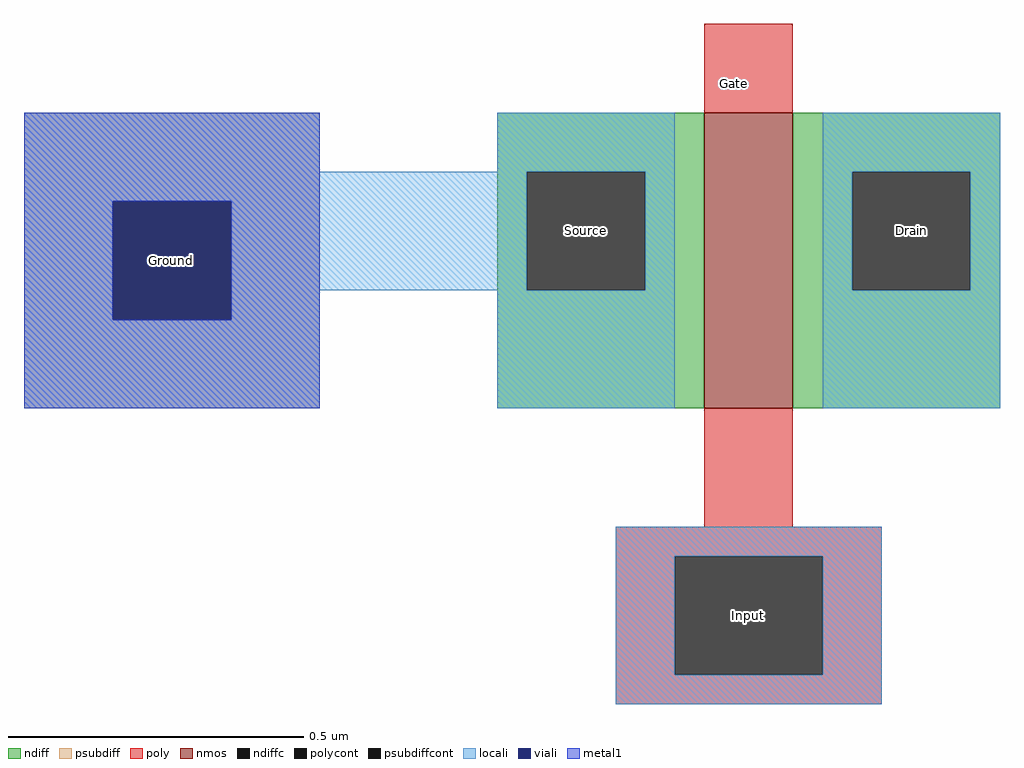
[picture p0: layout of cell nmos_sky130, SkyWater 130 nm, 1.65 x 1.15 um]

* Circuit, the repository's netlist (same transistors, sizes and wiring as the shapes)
* SPICE3 file created from nmos_sky130.ext - technology: sky130A

X0 Drain Input Ground Ground sky130_fd_pr__nfet_01v8 ad=0.175 pd=1.7 as=0.175 ps=1.7 w=0.5 l=0.15

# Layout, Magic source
magic
tech sky130A
<< nmos >>
rect -10 -25 5 25
<< ndiff >>
rect -45 15 -10 25
rect -45 -5 -40 15
rect -20 -5 -10 15
rect -45 -25 -10 -5
rect 5 15 40 25
rect 5 -5 15 15
rect 35 -5 40 15
rect 5 -25 40 -5
<< ndiffc >>
rect -40 -5 -20 15
rect 15 -5 35 15
<< psubdiff >>
rect -125 10 -75 25
rect -125 -10 -110 10
rect -90 -10 -75 10
rect -125 -25 -75 -10
<< psubdiffcont >>
rect -110 -10 -90 10
<< poly >>
rect -10 25 5 40
rect -10 -45 5 -25
rect -25 -50 20 -45
rect -25 -70 -15 -50
rect 10 -70 20 -50
rect -25 -75 20 -70
<< polycont >>
rect -15 -70 10 -50
<< locali >>
rect -125 15 -75 25
rect -45 15 -15 25
rect -125 10 -40 15
rect -125 -10 -110 10
rect -90 -5 -40 10
rect -20 -5 -15 15
rect -90 -10 -75 -5
rect -125 -25 -75 -10
rect -45 -25 -15 -5
rect 10 15 40 25
rect 10 -5 15 15
rect 35 -5 40 15
rect 10 -25 40 -5
rect -25 -50 20 -45
rect -25 -70 -15 -50
rect 10 -70 20 -50
rect -25 -75 20 -70
<< viali >>
rect -110 -10 -90 10
<< metal1 >>
rect -125 10 -75 25
rect -125 -10 -110 10
rect -90 -10 -75 10
rect -125 -25 -75 -10
<< labels >>
rlabel polycont -15 -70 10 -50 1 Input
rlabel poly -5 30 -5 30 1 Gate
rlabel metal1 -110 -10 -90 10 1 Ground
rlabel ndiffc -40 -5 -20 15 1 Source
rlabel ndiffc 15 -5 35 15 1 Drain
<< end >>
